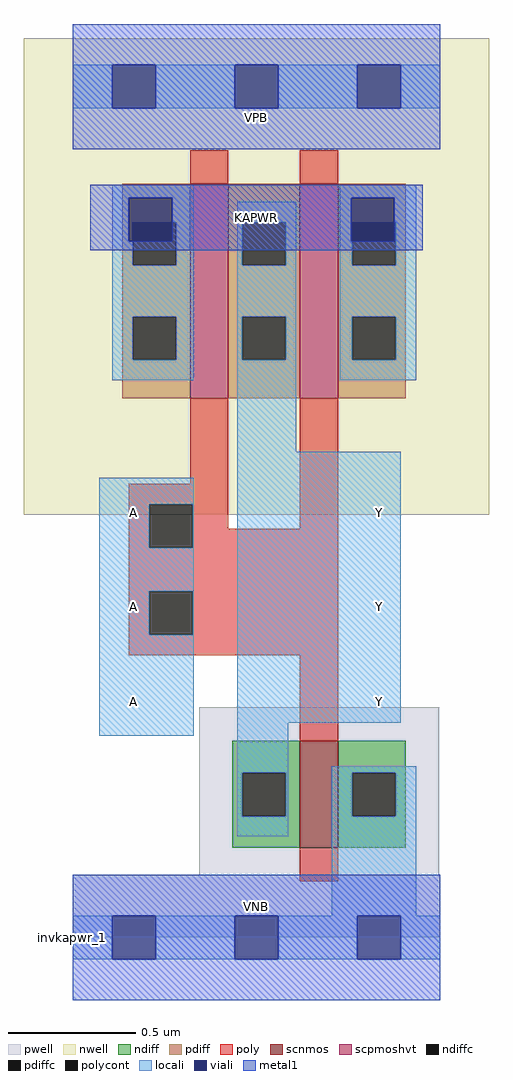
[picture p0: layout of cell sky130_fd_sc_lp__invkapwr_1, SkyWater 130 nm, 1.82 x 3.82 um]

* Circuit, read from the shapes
.subckt sky130_fd_sc_lp__invkapwr_1 A KAPWR VGND VNB VPB VPWR Y
XM1 VGND A Y VNB sky130_fd_pr__nfet_01v8 w=0.42 l=0.15
XM2 Y A KAPWR VPB sky130_fd_pr__pfet_01v8_hvt w=0.84 l=0.15 m=2
.ends

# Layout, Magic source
magic
tech sky130A
magscale 1 2
<< nwell >>
rect -38 331 326 704
<< pwell >>
rect 99 49 287 180
rect 0 0 288 49
<< scnmos >>
rect 178 70 208 154
<< scpmoshvt >>
rect 92 422 122 590
rect 178 422 208 590
<< ndiff >>
rect 125 129 178 154
rect 125 95 133 129
rect 167 95 178 129
rect 125 70 178 95
rect 208 129 261 154
rect 208 95 219 129
rect 253 95 261 129
rect 208 70 261 95
<< pdiff >>
rect 39 560 92 590
rect 39 526 47 560
rect 81 526 92 560
rect 39 486 92 526
rect 39 452 47 486
rect 81 452 92 486
rect 39 422 92 452
rect 122 560 178 590
rect 122 526 133 560
rect 167 526 178 560
rect 122 486 178 526
rect 122 452 133 486
rect 167 452 178 486
rect 122 422 178 452
rect 208 560 261 590
rect 208 526 219 560
rect 253 526 261 560
rect 208 486 261 526
rect 208 452 219 486
rect 253 452 261 486
rect 208 422 261 452
<< ndiffc >>
rect 133 95 167 129
rect 219 95 253 129
<< pdiffc >>
rect 47 526 81 560
rect 47 452 81 486
rect 133 526 167 560
rect 133 452 167 486
rect 219 526 253 560
rect 219 452 253 486
<< poly >>
rect 92 590 122 616
rect 178 590 208 616
rect 92 355 122 422
rect 44 339 122 355
rect 44 305 60 339
rect 94 320 122 339
rect 178 320 208 422
rect 94 305 208 320
rect 44 271 208 305
rect 44 237 60 271
rect 94 237 208 271
rect 44 221 208 237
rect 178 154 208 221
rect 178 44 208 70
<< polycont >>
rect 60 305 94 339
rect 60 237 94 271
<< locali >>
rect 0 649 31 683
rect 65 649 127 683
rect 161 649 223 683
rect 257 649 288 683
rect 31 579 95 589
rect 31 545 44 579
rect 78 560 95 579
rect 209 579 269 589
rect 31 526 47 545
rect 81 526 95 560
rect 31 486 95 526
rect 31 452 47 486
rect 81 452 95 486
rect 31 436 95 452
rect 129 560 175 576
rect 129 526 133 560
rect 167 526 175 560
rect 129 486 175 526
rect 129 452 133 486
rect 167 452 175 486
rect 129 380 175 452
rect 209 545 218 579
rect 252 560 269 579
rect 209 526 219 545
rect 253 526 269 560
rect 209 486 269 526
rect 209 452 219 486
rect 253 452 269 486
rect 209 436 269 452
rect 21 339 95 360
rect 21 305 60 339
rect 94 305 95 339
rect 21 271 95 305
rect 21 237 60 271
rect 94 237 95 271
rect 21 158 95 237
rect 129 168 257 380
rect 129 129 169 168
rect 129 95 133 129
rect 167 95 169 129
rect 129 79 169 95
rect 203 129 269 134
rect 203 95 219 129
rect 253 95 269 129
rect 203 17 269 95
rect 0 -17 31 17
rect 65 -17 127 17
rect 161 -17 223 17
rect 257 -17 288 17
<< viali >>
rect 31 649 65 683
rect 127 649 161 683
rect 223 649 257 683
rect 44 560 78 579
rect 44 545 47 560
rect 47 545 78 560
rect 218 560 252 579
rect 218 545 219 560
rect 219 545 252 560
rect 31 -17 65 17
rect 127 -17 161 17
rect 223 -17 257 17
<< metal1 >>
rect 0 683 288 715
rect 0 649 31 683
rect 65 649 127 683
rect 161 649 223 683
rect 257 649 288 683
rect 0 617 288 649
rect 14 579 274 589
rect 14 545 44 579
rect 78 545 218 579
rect 252 545 274 579
rect 14 538 274 545
rect 0 17 288 49
rect 0 -17 31 17
rect 65 -17 127 17
rect 161 -17 223 17
rect 257 -17 288 17
rect 0 -49 288 -17
<< labels >>
flabel pwell s 0 0 288 49 0 FreeSans 200 0 0 0 VNB
port 4 nsew ground bidirectional
flabel nwell s 0 617 288 666 0 FreeSans 200 0 0 0 VPB
port 5 nsew power bidirectional
rlabel comment s 0 0 0 0 4 invkapwr_1
flabel metal1 s 0 617 288 666 0 FreeSans 340 0 0 0 VPWR
port 6 nsew power bidirectional
flabel metal1 s 0 0 288 49 0 FreeSans 340 0 0 0 VGND
port 3 nsew ground bidirectional
flabel metal1 s 14 538 274 589 0 FreeSans 200 0 0 0 KAPWR
port 2 nsew power bidirectional
flabel locali s 31 168 65 202 0 FreeSans 340 0 0 0 A
port 1 nsew signal input
flabel locali s 31 242 65 276 0 FreeSans 340 0 0 0 A
port 1 nsew signal input
flabel locali s 31 316 65 350 0 FreeSans 340 0 0 0 A
port 1 nsew signal input
flabel locali s 223 168 257 202 0 FreeSans 340 0 0 0 Y
port 7 nsew signal output
flabel locali s 223 242 257 276 0 FreeSans 340 0 0 0 Y
port 7 nsew signal output
flabel locali s 223 316 257 350 0 FreeSans 340 0 0 0 Y
port 7 nsew signal output
<< properties >>
string LEFsite unit
string LEFclass CORE
string FIXED_BBOX 0 0 288 666
string GDS_FILE $PDKPATH/libs.ref/sky130_fd_sc_lp/gds/sky130_fd_sc_lp.gds
string LEFsymmetry X Y
string GDS_END 3704152
string GDS_START 3700146
<< end >>
